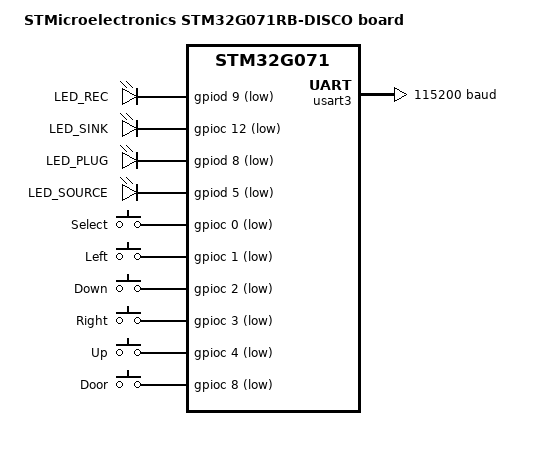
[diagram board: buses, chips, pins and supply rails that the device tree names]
/dts-v1/;

#include <st/g0/stm32g071Xb.dtsi>

/ {

        model = "STMicroelectronics STM32G071RB-DISCO board";
        compatible = "st,stm32g071rb-disco", "st,stm32g071";

        chosen {
                zephyr,console = &usart3;
                zephyr,shell-uart = &usart3;
                zephyr,sram = &sram0;
                zephyr,flash = &flash0;
        };


        leds {
                compatible = "gpio-leds";
                rec_led_1: led_1 {
                        gpios = <&gpiod 9 GPIO_INT_ACTIVE_LOW>;
                        label = "LED_REC";
                };
                sink_led_2: led_2 { 
                        gpios = <&gpioc 12 GPIO_INT_ACTIVE_LOW>; 
                        label = "LED_SINK"; 
                };

                plug_led_4: led_3 { 
                        gpios = <&gpiod 8 GPIO_INT_ACTIVE_LOW>; 
                        label = "LED_PLUG"; 
                };
                source_led_5: led_4 { 
                        gpios = <&gpiod 5 GPIO_INT_ACTIVE_LOW>; 
                        label = "LED_SOURCE"; 
                };
        };

        gpio_keys {
		compatible = "gpio-keys";
		sel_button: button0 {
			label = "Select";
			gpios = <&gpioc 0 GPIO_ACTIVE_LOW>;
		};
                left_button: button1 {
			label = "Left";
			gpios = <&gpioc 1 GPIO_ACTIVE_LOW>;
		};
                down_button: button2 {
			label = "Down";
			gpios = <&gpioc 2 GPIO_ACTIVE_LOW>;
		};
                right_button: button3 {
			label = "Right";
			gpios = <&gpioc 3 GPIO_ACTIVE_LOW>;
		};
                up_button: button4 {
			label = "Up";
			gpios = <&gpioc 4 GPIO_ACTIVE_LOW>;
		};
                door_sense: button5 {
			label = "Door";
			gpios = <&gpioc 8 GPIO_ACTIVE_LOW>;
		};
	};

        aliases {
                led0 = &rec_led_1;
                led1 = &sink_led_2; 
                sw0 = &sel_button;
                sw1 = &left_button;
                sw2 = &down_button;
                sw3 = &right_button;
                sw4 = &up_button;
                sw5 = &door_sense;
        };
};

&usart3 {
        current-speed = <115200>;
        status = "okay";
};



